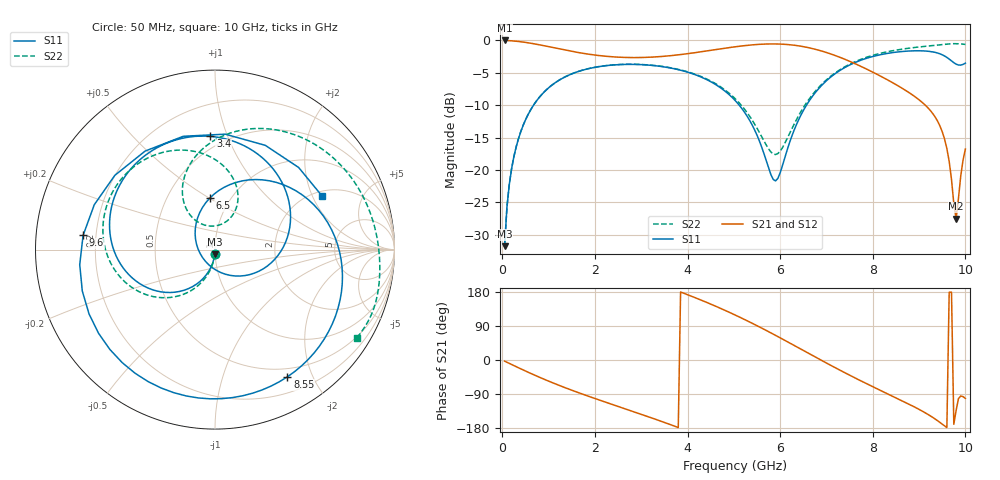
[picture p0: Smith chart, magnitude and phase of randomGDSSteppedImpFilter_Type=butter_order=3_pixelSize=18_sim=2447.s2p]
! freq	dB(S11)	phase(S11)	dB(S12)	phase(S12)
!  dB(S21)	phase(S21)	dB(S22)	phase(S22)
!S-par simulation data
#  GHz  S  DB  R 50
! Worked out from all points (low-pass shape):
!   200 points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, 50 MHz to 10 GHz, reference 50 ohm
!   highest |S21| = -0.01 dB at 50 MHz (marker M1); lowest = -27.5 dB at 9.8 GHz (marker M2)
!   |S21| within 3 dB of the highest: start of sweep to 7.428 GHz
!   lowest |S11| = -31.8 dB at 50 MHz (marker M3), VSWR 1.05, Z = 49.8 - j2.56 ohm
!   |S11| at or under -10 dB: start of sweep to 675.7 MHz; 5.116 GHz to 6.569 GHz (1.453 GHz wide, 24.9 % of centre)
!   |S22| runs from -31.8 to -0.5 dB; largest |S21 - S12| = 0
!   S11 on the Smith chart (normalised r, x): 50 MHz: 1.00, -0.05; 3.4 GHz: 0.41, +0.87; 6.5 GHz: 0.80, +0.50; 8.55 GHz: 0.39, -1.65; 9.6 GHz: 0.15, +0.05; 10 GHz: 2.22, +2.38
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0.05  -31.78 -93.3  -0.01 -3.0  -0.01 -3.0  -31.77 -92.9
0.2  -19.85 -103.1  -0.06 -11.8  -0.06 -11.8  -19.85 -101.5
0.5  -12.29 -121.5  -0.30 -29.0  -0.30 -29.0  -12.28 -117.7
1.05  -7.03 -152.9  -1.04 -58.3  -1.04 -58.3  -7.02 -144.8
1.75  -4.57 171.5  -2.00 -90.9  -2.00 -90.9  -4.56 -174.3
2.5  -3.75 136.0  -2.59 -122.5  -2.59 -122.5  -3.73 158.0
3.4  -3.99 92.3  -2.50 -160.3  -2.50 -160.3  -3.96 126.5
4.35  -5.84 39.2  -1.70 155.3  -1.70 155.3  -5.75 92.6
5.05  -9.45 -9.3  -0.96 117.5  -0.96 117.5  -9.15 68.9
5.9  -21.70 -147.1  -0.54 65.1  -0.54 65.1  -17.63 94.5
6.5  -10.84 96.1  -0.96 25.2  -0.96 25.2  -10.39 124.1
6.7  -8.61 77.2  -1.26 11.8  -1.26 11.8  -8.35 118.4
7.15  -5.33 39.8  -2.23 -17.8  -2.23 -17.8  -5.22 99.4
7.65  -3.31 2.6  -3.70 -49.4  -3.70 -49.4  -3.18 75.3
8.35  -1.96 -46.2  -6.22 -91.0  -6.22 -91.0  -1.70 41.9
8.55  -1.77 -60.4  -7.03 -102.7  -7.03 -102.7  -1.44 32.7
9.2  -1.68 -116.9  -10.48 -144.2  -10.48 -144.2  -0.86 4.0
9.4  -1.95 -144.3  -12.47 -160.3  -12.47 -160.3  -0.72 -4.6
9.6  -2.63 173.8  -16.70 -178.2  -16.70 -178.2  -0.57 -13.5
9.8  -3.67 105.6  -27.54 -133.0  -27.54 -133.0  -0.50 -22.8
9.9  -3.81 64.2  -20.91 -94.9  -20.91 -94.9  -0.55 -27.4
10  -3.51 26.4  -16.78 -101.4  -16.78 -101.4  -0.62 -31.7
